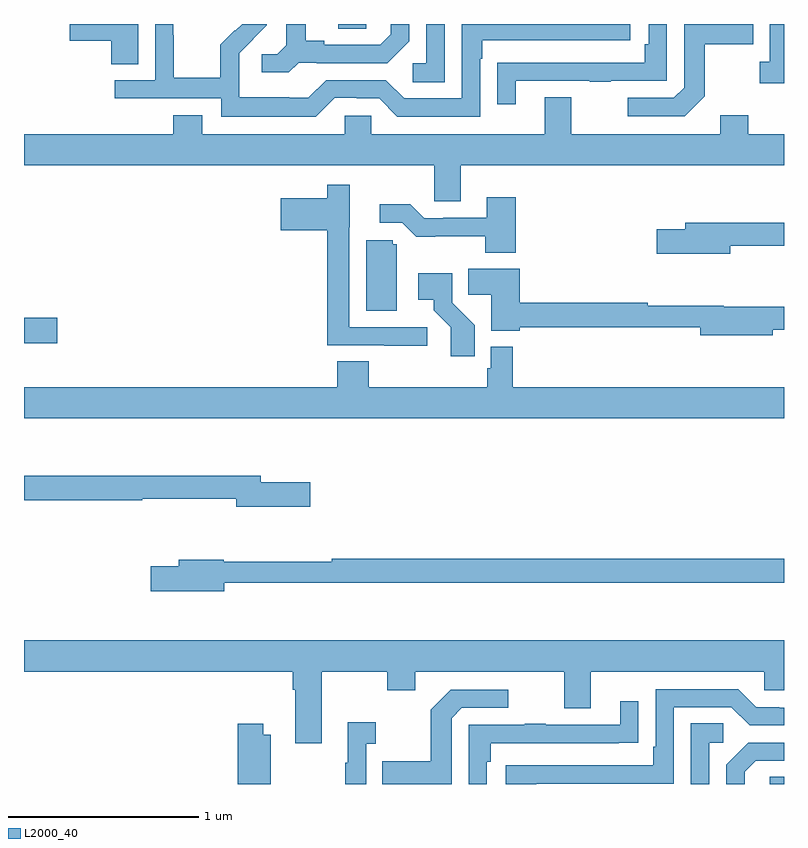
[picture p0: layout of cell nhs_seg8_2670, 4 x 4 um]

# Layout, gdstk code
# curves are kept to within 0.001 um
import gdstk
lib = gdstk.Library(unit=1e-6, precision=1e-09)
def R(c, l, rs):  # rectangles x0, y0, x1, y1
    for r in rs: c.add(gdstk.rectangle(r[:2], r[2:], *l))
def P(c, l, *ps):  # polygons
    for p in ps: c.add(gdstk.Polygon(p, *l))
L2000_40 = (2000, 40)

nhs_seg8_2670 = lib.new_cell('nhs_seg8_2670')
R(nhs_seg8_2670, L2000_40, [(282.924,1123.9,283,1123.937), (279,1126.22,279.175,1126.355), (280.655,1127.875,280.8,1127.9)])
P(nhs_seg8_2670, L2000_40, [(283,1127.9),(282.924,1127.9),(282.924,1127.702),(282.873,1127.702),(282.873,1127.589),(283,1127.589)],
  [(280.635,1127.511),(280.751,1127.511),(280.751,1127.508),(280.869,1127.508),(280.965,1127.412),(281.4,1127.412),(281.4,1127.717),(281.413,1127.717),(281.413,1127.814),(282.19,1127.814),(282.19,1127.9),(281.304,1127.9),(281.304,1127.508),(281.001,1127.508),(280.905,1127.604),(280.59,1127.604),(280.497,1127.511),(280.397,1127.511),(280.397,1127.515),(280.134,1127.515),(280.134,1127.649),(280.132,1127.649),(280.132,1127.746),(280.278,1127.894),(280.278,1127.9),(280.148,1127.9),(280.113,1127.865),(280.11,1127.868),(280.033,1127.791),(280.033,1127.617),(279.789,1127.617),(279.789,1127.84),(279.786,1127.84),(279.786,1127.9),(279.69,1127.9),(279.69,1127.604),(279.477,1127.604),(279.477,1127.508),(280.038,1127.508),(280.038,1127.411),(280.535,1127.411)],
  [(280.446,1127.697),(280.54,1127.697),(280.54,1127.694),(280.912,1127.694),(281.028,1127.81),(281.028,1127.9),(280.931,1127.9),(280.931,1127.847),(280.874,1127.79),(280.579,1127.79),(280.579,1127.813),(280.483,1127.813),(280.483,1127.9),(280.379,1127.9),(280.379,1127.789),(280.332,1127.742),(280.251,1127.742),(280.251,1127.645),(280.394,1127.645)],
  [(282.583,1127.521),(282.583,1127.794),(282.839,1127.794),(282.839,1127.9),(282.474,1127.9),(282.474,1127.565),(282.42,1127.511),(282.177,1127.511),(282.177,1127.415),(282.477,1127.415)],
  [(281.587,1127.601),(281.977,1127.601),(281.977,1127.596),(282.089,1127.596),(282.089,1127.601),(282.384,1127.601),(282.384,1127.9),(282.288,1127.9),(282.288,1127.794),(282.268,1127.794),(282.268,1127.697),(281.593,1127.697),(281.593,1127.696),(281.491,1127.696),(281.491,1127.478),(281.587,1127.478)],
  [(279.601,1127.9),(279.24,1127.9),(279.24,1127.813),(279.458,1127.813),(279.458,1127.689),(279.601,1127.689)],
  [(281.214,1127.9),(281.118,1127.9),(281.118,1127.694),(281.046,1127.694),(281.046,1127.593),(281.214,1127.593)],
  [(281.299,1127.156),(283,1127.156),(283,1127.32),(282.813,1127.32),(282.813,1127.419),(282.665,1127.419),(282.665,1127.32),(281.881,1127.32),(281.881,1127.515),(281.741,1127.515),(281.741,1127.32),(280.827,1127.32),(280.827,1127.418),(280.689,1127.418),(280.689,1127.32),(279.937,1127.32),(279.937,1127.419),(279.785,1127.419),(279.785,1127.32),(279,1127.32),(279,1127.156),(281.16,1127.156),(281.16,1126.966),(281.299,1126.966)],
  [(281.122,1126.305),(280.713,1126.305),(280.713,1126.83),(280.714,1126.83),(280.714,1127.053),(280.597,1127.053),(280.597,1126.984),(280.35,1126.984),(280.35,1126.814),(280.597,1126.814),(280.597,1126.209),(280.897,1126.209),(280.897,1126.207),(281.122,1126.207)],
  [(281.588,1126.987),(281.435,1126.987),(281.435,1126.881),(281.206,1126.881),(281.206,1126.878),(281.106,1126.878),(281.033,1126.951),(280.872,1126.951),(280.872,1126.854),(280.992,1126.854),(281.065,1126.781),(281.428,1126.782),(281.428,1126.697),(281.588,1126.697)],
  [(282.718,1126.734),(283,1126.734),(283,1126.855),(282.479,1126.855),(282.479,1126.821),(282.33,1126.821),(282.33,1126.691),(282.718,1126.691)],
  [(280.963,1126.74),(280.941,1126.74),(280.941,1126.761),(280.802,1126.761),(280.802,1126.392),(280.963,1126.392)],
  [(282.94,1126.29),(283,1126.29),(283,1126.411),(282.684,1126.411),(282.684,1126.418),(282.284,1126.418),(282.284,1126.433),(281.609,1126.433),(281.609,1126.612),(281.338,1126.612),(281.338,1126.474),(281.459,1126.474),(281.459,1126.286),(281.609,1126.286),(281.609,1126.305),(282.56,1126.305),(282.56,1126.262),(282.94,1126.262)],
  [(281.372,1126.314),(281.253,1126.433),(281.253,1126.588),(281.076,1126.588),(281.076,1126.448),(281.156,1126.448),(281.156,1126.393),(281.247,1126.303),(281.247,1126.152),(281.372,1126.152)],
  [(283,1125.988),(281.573,1125.988),(281.573,1126.201),(281.457,1126.201),(281.457,1126.089),(281.437,1126.089),(281.437,1125.988),(280.814,1125.988),(280.814,1126.124),(280.649,1126.124),(280.649,1125.988),(279,1125.988),(279,1125.824),(283,1125.824)],
  [(280.507,1125.489),(280.246,1125.489),(280.246,1125.523),(279,1125.523),(279,1125.394),(279.622,1125.394),(279.622,1125.402),(280.118,1125.402),(280.118,1125.359),(280.507,1125.359)],
  [(280.054,1124.958),(283,1124.958),(283,1125.086),(280.619,1125.086),(280.619,1125.071),(280.05,1125.071),(280.05,1125.079),(279.815,1125.079),(279.815,1125.045),(279.666,1125.045),(279.666,1124.915),(280.054,1124.915)],
  [(280.567,1124.492),(280.912,1124.492),(280.912,1124.393),(281.059,1124.393),(281.059,1124.492),(281.843,1124.492),(281.843,1124.298),(281.983,1124.298),(281.983,1124.492),(282.897,1124.492),(282.897,1124.394),(283,1124.394),(283,1124.656),(279,1124.656),(279,1124.492),(280.415,1124.492),(280.415,1124.396),(280.427,1124.396),(280.427,1124.115),(280.567,1124.115)],
  [(281.696,1123.902),(282.42,1123.902),(282.42,1124.304),(282.723,1124.304),(282.819,1124.208),(283,1124.208),(283,1124.301),(282.974,1124.301),(282.974,1124.304),(282.855,1124.304),(282.759,1124.4),(282.324,1124.4),(282.324,1124.095),(282.311,1124.095),(282.311,1123.998),(281.535,1123.998),(281.535,1123.9),(281.696,1123.9)],
  [(281.25,1124.247),(281.304,1124.301),(281.548,1124.301),(281.548,1124.397),(281.247,1124.397),(281.142,1124.291),(281.142,1124.019),(280.885,1124.019),(280.885,1123.9),(281.25,1123.9)],
  [(281.436,1124.018),(281.456,1124.018),(281.456,1124.115),(282.131,1124.115),(282.131,1124.116),(282.233,1124.116),(282.233,1124.335),(282.137,1124.335),(282.137,1124.211),(281.747,1124.211),(281.747,1124.216),(281.635,1124.216),(281.635,1124.211),(281.34,1124.211),(281.34,1123.9),(281.436,1123.9)],
  [(280.8,1124.111),(280.852,1124.111),(280.852,1124.224),(280.703,1124.224),(280.703,1124.011),(280.692,1124.011),(280.692,1123.9),(280.8,1123.9)],
  [(282.606,1124.118),(282.679,1124.118),(282.679,1124.219),(282.51,1124.219),(282.51,1123.9),(282.606,1123.9)],
  [(280.299,1124.158),(280.258,1124.158),(280.258,1124.218),(280.124,1124.218),(280.124,1123.9),(280.299,1123.9)],
  [(282.793,1123.965),(282.85,1124.022),(283,1124.022),(283,1124.118),(282.812,1124.118),(282.696,1124.002),(282.696,1123.9),(282.793,1123.9)])

lib.write_gds('nhs_seg8_2670.gds')
